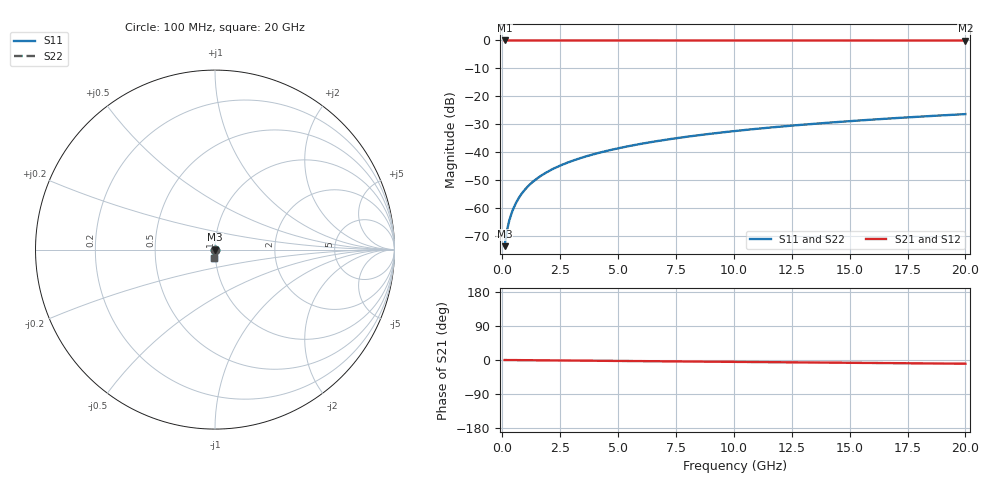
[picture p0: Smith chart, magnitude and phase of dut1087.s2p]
! Touchstone file exported from HFSS 2026.1.0
!  File:  C:/ffzhzh/LocalFiles/Ansys_Project_Files/temp_train_TSV_1087_1783190226_43440.aedt
!  Generated:  02:38:23 AM Jul  5, 2026
!  Design:  TSV
!  Project:  temp_train_TSV_1087_1783190226_43440
! Variables:
!  h_bsmrdl = 2um
!  h_ox = 20um
!  h_rdl = 5um
!  h_sub = 98.65um
!  h_tmrdl = 5um
!  h_tsv = 98.65um
!  h_via = 3um
!  l_bsmrdl = 300um
!  l_sub = 428.48um
!  l_tmrdl = 200um
!  m_sub = 200um
!  pitch = 44.14um
!  r_tsv = 14.24um
!  s_tmrdl = 10um
!  w_bsmrdl = 18um
!  w_sub = 500um
!  w_tmrdl = 12um
!  x_tsv_center1 = 206um
!  x_tsv_center2 = 524um
!  x_tsv_center3 = 736um
!  x_tsv_center4 = 1054um
!  x_tsv_center5 = 1266um
!  x_tsv_center6 = 1584um
# GHz S MA R 50.000000
! Terminal data exported
! Port[1] = TSV1_1_T1
! Port[2] = TSV1_1_T2
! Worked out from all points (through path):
!   200 points, 100 MHz to 20 GHz, reference 50 ohm
!   highest |S21| = 0.00 dB at 100 MHz (marker M1); lowest = 0.0 dB at 20 GHz (marker M2)
!   group delay of S21, straight-line fit = 1.36 ps
!   lowest |S11| = -73.5 dB at 100 MHz (marker M3), VSWR 1.00, Z = 50 - j0.0189 ohm
!   |S11| at or under -10 dB: start of sweep to end of sweep
!   |S22| runs from -73.5 to -26.3 dB; largest |S21 - S12| = 2.3e-15
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0.1  0.0002106 -63.8  0.9999 -0.1  0.9999 -0.1  0.0002106 -63.8
! Gamma 0 0 0 0
! Port Impedance 50 0 50 0
0.2  0.000399 -73.8  0.9999 -0.1  0.9999 -0.1  0.000399 -73.8
0.3  0.0006019 -76.9  0.9999 -0.2  0.9999 -0.2  0.0006019 -76.9
0.4  0.0008158 -78.3  0.9998 -0.2  0.9998 -0.2  0.0008158 -78.3
0.5  0.001038 -79.2  0.9998 -0.3  0.9998 -0.3  0.001038 -79.2
0.7  0.001501 -80.7  0.9997 -0.4  0.9997 -0.4  0.001501 -80.7
0.8  0.001737 -81.3  0.9997 -0.4  0.9997 -0.4  0.001737 -81.3
1  0.002213 -82.4  0.9997 -0.5  0.9997 -0.5  0.002213 -82.4
1.2  0.002692 -83.3  0.9997 -0.6  0.9997 -0.6  0.002692 -83.3
1.4  0.003171 -84.1  0.9996 -0.7  0.9996 -0.7  0.003171 -84.1
1.7  0.003888 -85.0  0.9996 -0.8  0.9996 -0.8  0.003888 -85.0
2  0.004606 -85.8  0.9996 -1.0  0.9996 -1.0  0.004606 -85.8
2.7  0.006279 -87.0  0.9995 -1.3  0.9995 -1.3  0.006279 -87.0
3.5  0.008195 -88.0  0.9994 -1.7  0.9994 -1.7  0.008195 -88.0
4.2  0.009878 -88.7  0.9994 -2.1  0.9994 -2.1  0.009878 -88.7
5  0.01181 -89.4  0.9993 -2.5  0.9993 -2.5  0.01181 -89.4
6.8  0.01617 -90.7  0.9991 -3.4  0.9991 -3.4  0.01617 -90.7
8.3  0.01982 -91.7  0.999 -4.1  0.999 -4.1  0.01982 -91.7
10.1  0.0242 -92.8  0.9988 -5.0  0.9988 -5.0  0.0242 -92.8
13.4  0.03224 -94.7  0.9984 -6.6  0.9984 -6.6  0.03224 -94.7
16.7  0.04027 -96.5  0.998 -8.2  0.998 -8.2  0.04027 -96.5
20  0.04829 -98.3  0.9975 -9.8  0.9975 -9.8  0.04829 -98.3
